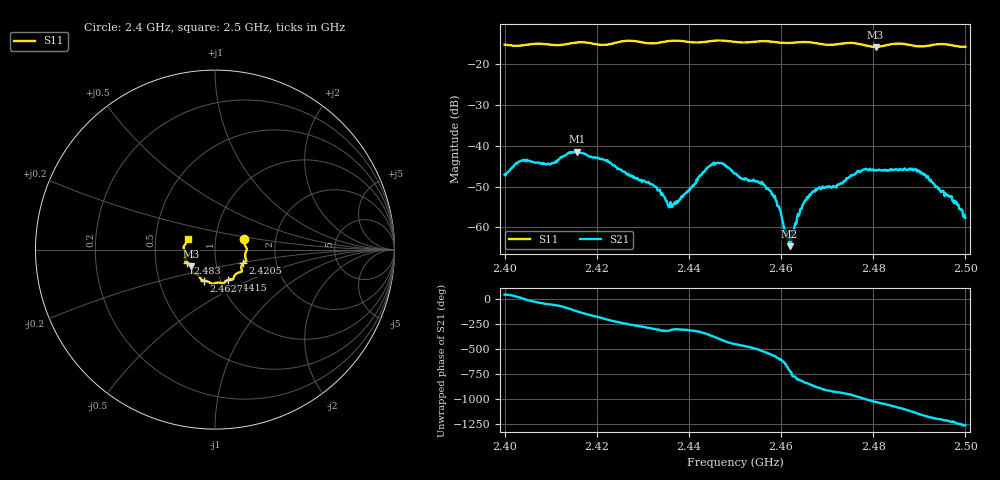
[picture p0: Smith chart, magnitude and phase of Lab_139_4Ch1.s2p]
# Hz S RI R 50
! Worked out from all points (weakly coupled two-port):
!   601 points, 2.4 GHz to 2.5 GHz, reference 50 ohm
!   highest |S21| = -41.45 dB at 2.4157 GHz (marker M1); lowest = -64.6 dB at 2.4618 GHz (marker M2)
!   lowest |S11| = -15.8 dB at 2.4805 GHz (marker M3), VSWR 1.39, Z = 37.6 - j7.1 ohm
!   |S11| at or under -10 dB: start of sweep to end of sweep
!   S12 and S22 are empty: the file has one direction only
!   S11 on the Smith chart (normalised r, x): 2.4 GHz: 1.38, +0.16; 2.4205 GHz: 1.35, -0.21; 2.4415 GHz: 1.09, -0.38; 2.4627 GHz: 0.84, -0.30; 2.483 GHz: 0.73, -0.11; 2.5 GHz: 0.73, +0.09
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2.4e9  0.1635 0.0575  0.00329 0.00296  0 0  0 0
2.4035e9  0.1675 0.0225  0.00644 0.00111  0 0  0 0
2.410167e9  0.1723 -0.0118  0.00326 -0.00516  0 0  0 0
2.415667e9  0.1743 -0.0605  -0.00455 -0.00714  0 0  0 0
2.416667e9  0.1745 -0.0635  -0.00613 -0.00546  0 0  0 0
2.4205e9  0.156 -0.0758  -0.00695 0.000388  0 0  0 0
2.433333e9  0.1072 -0.1472  0.00159 0.00232  0 0  0 0
2.436e9  0.1026 -0.1633  0.00135 0.00153  0 0  0 0
2.4415e9  0.0735 -0.1687  0.00269 0.00218  0 0  0 0
2.445833e9  0.048 -0.1887  0.00546 -0.00268  0 0  0 0
2.45e9  0.0301 -0.1844  -0.000107 -0.00456  0 0  0 0
2.457833e9  -0.0233 -0.1876  -0.00264 0.000691  0 0  0 0
2.461833e9  -0.0545 -0.1738  0.000583 7.28e-05  0 0  0 0
2.462667e9  -0.061 -0.1731  0.000556 -0.000723  0 0  0 0
2.464667e9  -0.072 -0.1719  -0.00036 -0.00183  0 0  0 0
2.466667e9  -0.0769 -0.1674  -0.00198 -0.00174  0 0  0 0
2.477833e9  -0.1261 -0.1176  0.000269 0.0051  0 0  0 0
2.4805e9  -0.1342 -0.092  0.00302 0.00405  0 0  0 0
2.483e9  -0.1542 -0.0752  0.00452 0.0021  0 0  0 0
2.483333e9  -0.1567 -0.074  0.00461 0.00195  0 0  0 0
2.490667e9  -0.1635 -0.0217  0.00093 -0.00447  0 0  0 0
2.5e9  -0.1528 0.0572  -0.00131 -3.57e-06  0 0  0 0
